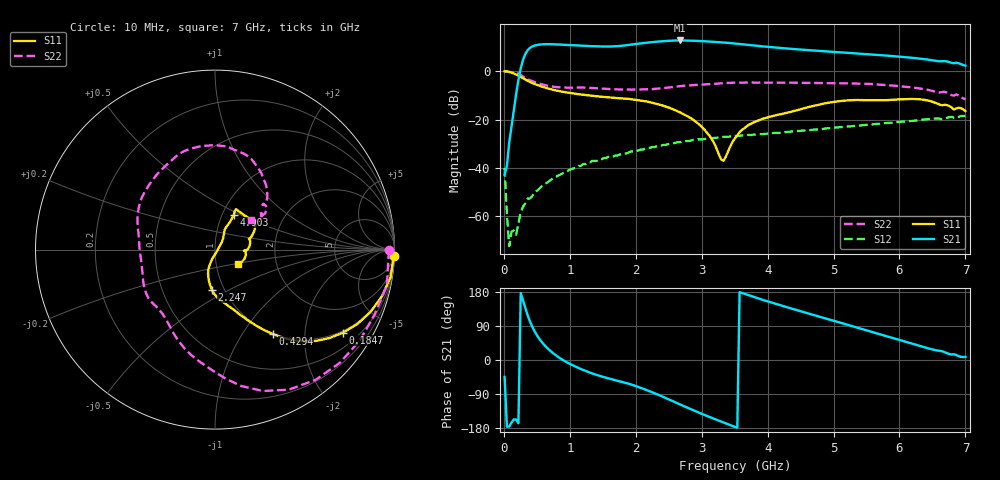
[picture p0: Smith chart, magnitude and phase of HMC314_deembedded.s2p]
!Hittite Microwave Corporation
!12 Elizabeth Drive
!Chelmsford, MA 01824
!Tel: 978-250-3343
!Fax: 978-250-3373
!Device: HMC314, 0.7-4 GHz, GaAs InGaP HBT MMIC Driver Amplifier in SOT26 package
!Misc:  Vs=+5V, Pin=-20dBm, Rcc=10 Ohm, RVPD=160 Ohm. Icc=145mA, Room
# MHZ S MA R 50
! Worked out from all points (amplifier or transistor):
!   201 points, 10 MHz to 7 GHz, reference 50 ohm
!   highest |S21| = 12.7 dB at 2.666 GHz (marker M1)
!   |S21| within 3 dB of that: 399.8 MHz to 4.152 GHz (3.753 GHz wide, 165 % of centre)
!   unconditionally stable (mu >= 1): start of sweep to end of sweep
!   at 1.163 GHz: K = 9.43, MAG = 12.1 dB, |S12| = -39.2 dB
!   at 3.505 GHz: K = 2.02, MAG = 13.3 dB, |S12| = -26.7 dB
!   at 7 GHz: K = 3.02, MAG = 2.8 dB, |S12| = -18.6 dB
!   S11 on the Smith chart (normalised r, x): 10 MHz: 5, -60; 184.8 MHz: 0.93, -3.13; 429.4 MHz: 0.99, -1.38; 2.247 GHz: 0.88, -0.41; 4.903 GHz: 1.13, +0.46; 7 GHz: 1.28, -0.20
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10  0.997 -1.9  0.007229 -44.7  0.01 -176.8  0.969 -0.2
79.9  0.966 -15.6  0.033 -175.5  0.0002415 -60.2  0.96 -22.4
184.75  0.851 -32.9  0.335 -157.0  0.0004168 -161.0  0.917 -52.3
254.65  0.759 -42.1  1.145 176.6  0.001215 171.1  0.832 -71.3
324.55  0.671 -48.9  2.274 136.5  0.001855 149.7  0.721 -85.3
429.4  0.57 -55.6  3.236 87.7  0.002627 139.3  0.623 -99.1
569.2  0.483 -61.5  3.584 48.5  0.004144 128.4  0.539 -113.2
709  0.424 -65.9  3.614 23.2  0.005667 121.8  0.486 -122.5
918.7  0.37 -70.8  3.501 -2.6  0.008051 113.4  0.458 -131.8
1198.3  0.327 -76.0  3.355 -26.1  0.012 103.3  0.459 -144.1
1932.25  0.263 -87.9  3.54 -64.8  0.022 83.7  0.416 -173.4
2246.8  0.224 -94.3  3.986 -85.0  0.027 76.4  0.426 173.0
2351.65  0.205 -97.0  4.107 -92.5  0.029 73.1  0.436 167.8
2666.2  0.142 -105.8  4.315 -116.8  0.034 64.2  0.49 149.2
3085.6  0.052 -106.2  4.12 -148.1  0.04 52.1  0.537 123.4
3330.25  0.014 -16.8  3.917 -164.8  0.044 45.8  0.566 111.6
3505  0.041 41.5  3.724 -176.6  0.046 41.4  0.578 103.8
4064.2  0.117 63.3  3.129 151.2  0.052 29.8  0.58 88.4
4693.3  0.191 61.4  2.675 119.0  0.062 18.1  0.57 80.8
4903  0.221 61.7  2.557 108.4  0.066 13.8  0.566 78.6
5846.65  0.254 46.5  2.08 60.6  0.086 -8.7  0.511 61.5
7000  0.15 -31.2  1.303 8.3  0.118 -59.2  0.263 39.4
